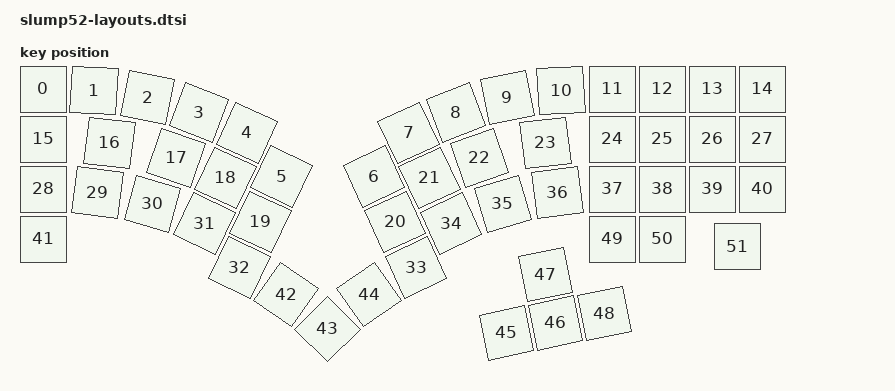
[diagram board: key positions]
#include <physical_layouts.dtsi>

/ {
    physical_layout0: physical_layout_0 {
        compatible = "zmk,physical-layout";
        display-name = "LAYOUT";
        kscan = <&kscan0>;
        transform = <&matrix_transform0>;

        keys  //                     w   h    x    y     rot    rx    ry
            = <&key_physical_attrs 100 100    0    0       0     0     0>
            , <&key_physical_attrs 100 100  102    3     300   153    53>
            , <&key_physical_attrs 100 100  209   17    1200   259    67>
            , <&key_physical_attrs 100 100  312   47    2100   362    97>
            , <&key_physical_attrs 100 100  408   88    2500   458   138>
            , <&key_physical_attrs 100 100  477  175    2500   527   225>
            , <&key_physical_attrs 100 100  662  175 (-2500)   712   225>
            , <&key_physical_attrs 100 100  731   88 (-2500)   781   138>
            , <&key_physical_attrs 100 100  826   47 (-2100)   876    97>
            , <&key_physical_attrs 100 100  929   17 (-1200)   979    67>
            , <&key_physical_attrs 100 100 1036    3  (-300)  1086    53>
            , <&key_physical_attrs 100 100 1139    0       0     0     0>
            , <&key_physical_attrs 100 100 1239    0       0     0     0>
            , <&key_physical_attrs 100 100 1339    0       0     0     0>
            , <&key_physical_attrs 100 100 1439    0       0     0     0>
            , <&key_physical_attrs 100 100    0  100       0     0     0>
            , <&key_physical_attrs 100 100  133  108     700   183   158>
            , <&key_physical_attrs 100 100  266  138    1900   316   188>
            , <&key_physical_attrs 100 100  365  178    2500   415   228>
            , <&key_physical_attrs 100 100  435  266    2500   485   316>
            , <&key_physical_attrs 100 100  704  266 (-2500)   754   316>
            , <&key_physical_attrs 100 100  773  178 (-2500)   823   228>
            , <&key_physical_attrs 100 100  873  138 (-1900)   923   188>
            , <&key_physical_attrs 100 100 1005  108  (-700)  1055   158>
            , <&key_physical_attrs 100 100 1139  100       0     0     0>
            , <&key_physical_attrs 100 100 1239  100       0     0     0>
            , <&key_physical_attrs 100 100 1339  100       0     0     0>
            , <&key_physical_attrs 100 100 1439  100       0     0     0>
            , <&key_physical_attrs 100 100    0  200       0     0     0>
            , <&key_physical_attrs 100 100  109  207     700   159   257>
            , <&key_physical_attrs 100 100  219  230    1600   269   280>
            , <&key_physical_attrs 100 100  323  269    2500   373   319>
            , <&key_physical_attrs 100 100  393  357    2500   443   407>
            , <&key_physical_attrs 100 100  746  357 (-2500)   796   407>
            , <&key_physical_attrs 100 100  816  269 (-2500)   866   319>
            , <&key_physical_attrs 100 100  920  230 (-1600)   970   280>
            , <&key_physical_attrs 100 100 1029  207  (-700)  1079   257>
            , <&key_physical_attrs 100 100 1139  200       0     0     0>
            , <&key_physical_attrs 100 100 1239  200       0     0     0>
            , <&key_physical_attrs 100 100 1339  200       0     0     0>
            , <&key_physical_attrs 100 100 1439  200       0     0     0>
            , <&key_physical_attrs 100 100    0  300       0     0     0>
            , <&key_physical_attrs 100 100  486  411    3500   536   461>
            , <&key_physical_attrs 100 100  569  480 (-4500)   619   530>
            , <&key_physical_attrs 100 100  652  411 (-3500)   702   461>
            , <&key_physical_attrs 100 100  927  488 (-1150)   977   538>
            , <&key_physical_attrs 100 100 1025  468 (-1150)  1075   519>
            , <&key_physical_attrs 100 100 1005  371 (-1150)  1055   421>
            , <&key_physical_attrs 100 100 1123  449 (-1150)  1173   499>
            , <&key_physical_attrs 100 100 1139  300       0     0     0>
            , <&key_physical_attrs 100 100 1239  300       0     0     0>
            , <&key_physical_attrs 100 100 1389  315       0     0     0>
            ;
    };
};
